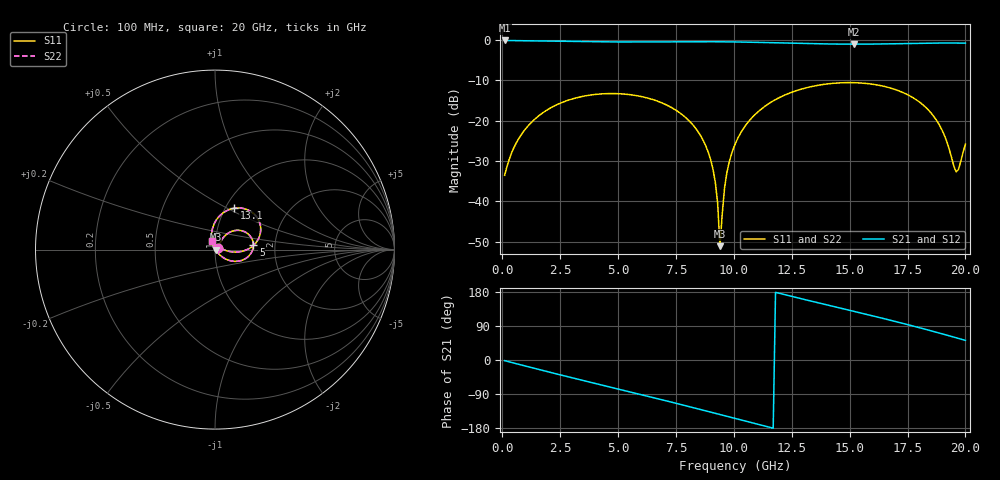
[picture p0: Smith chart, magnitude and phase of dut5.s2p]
! Touchstone file exported from HFSS 2026.1.0
!  File:  C:/ffzhzh/LocalFiles/Ansys_Project_Files/temp_test_TSV_RDL_5_1782978886_45748.aedt
!  Generated:  04:04:09 PM Jul  2, 2026
!  Design:  TSV_RDL
!  Project:  temp_test_TSV_RDL_5_1782978886_45748
! Variables:
!  h_bsmrdl = 3.55um
!  h_ox = 20um
!  h_rdl = 5um
!  h_sub = 92.43um
!  h_tmrdl = 5.27um
!  h_tsv = 92.43um
!  h_via = 3um
!  l_bsmrdl = 398.3um
!  l_sub = 4456.75um
!  l_tmrdl = 684.69um
!  m_sub = 200um
!  pitch = 34.3um
!  r_tsv = 13.97um
!  s_tmrdl = 10um
!  w_bsmrdl = 27.43um
!  w_sub = 500um
!  w_tmrdl = 13.6um
!  x_tsv_center1 = 691.49um
!  x_tsv_center2 = 1117.22um
!  x_tsv_center3 = 1815.51um
!  x_tsv_center4 = 2241.24um
!  x_tsv_center5 = 2939.53um
!  x_tsv_center6 = 3365.26um
# GHz S MA R 50.000000
! Terminal data exported
! Port[1] = TM_RDL1_1_T1
! Port[2] = TM_RDL5_1_T1
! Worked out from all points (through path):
!   200 points, 100 MHz to 20 GHz, reference 50 ohm
!   highest |S21| = -0.17 dB at 100 MHz (marker M1); lowest = -1.1 dB at 15.2 GHz (marker M2)
!   group delay of S21, straight-line fit = 42.4 ps
!   lowest |S11| = -51.1 dB at 9.4 GHz (marker M3), VSWR 1.01, Z = 50.3 + j0.0115 ohm
!   |S11| at or under -10 dB: start of sweep to end of sweep
!   |S22| runs from -51.1 to -10.6 dB; largest |S21 - S12| = 1.7e-14
!   S11 on the Smith chart (normalised r, x): 100 MHz: 1.04, +0.02; 5 GHz: 1.54, +0.08; 13.1 GHz: 1.10, +0.54; 20 GHz: 0.96, +0.09
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0.1  0.02103 24.2  0.981 -1.7  0.981 -1.7  0.02103 24.2
! Gamma 0 0 0 0
! Port Impedance 50 0 50 0
0.6  0.05264 53.7  0.9754 -9.7  0.9754 -9.7  0.05264 53.7
1.3  0.09772 54.1  0.9696 -20.7  0.9696 -20.7  0.09772 54.1
3.5  0.2 27.6  0.9475 -54.2  0.9475 -54.2  0.2 27.6
5  0.2152 6.6  0.94 -76.5  0.94 -76.5  0.2152 6.7
6.8  0.1698 -19.1  0.9428 -103.4  0.9428 -103.4  0.1698 -19.0
8  0.1039 -36.4  0.9466 -121.9  0.9466 -121.9  0.1038 -36.3
8.8  0.04769 -46.9  0.9469 -134.4  0.9469 -134.4  0.04768 -46.9
9.2  0.01721 -47.8  0.9459 -140.7  0.9459 -140.7  0.01721 -47.7
9.3  0.009535 -42.6  0.9455 -142.3  0.9455 -142.3  0.009527 -42.5
9.4  0.002789 2.4  0.945 -143.9  0.945 -143.9  0.002789 2.6
9.6  0.01476 108.4  0.9439 -147.1  0.9439 -147.1  0.01477 108.4
9.7  0.02268 110.2  0.9432 -148.7  0.9432 -148.7  0.02269 110.2
10.1  0.05468 107.7  0.94 -155.0  0.94 -155.0  0.05469 107.7
11.2  0.14 92.6  0.9267 -172.2  0.9267 -172.2  0.14 92.6
13.1  0.2534 65.2  0.8981 158.9  0.8981 158.9  0.2534 65.3
13.4  0.2654 61.0  0.8942 154.5  0.8942 154.5  0.2654 61.1
15.2  0.2944 36.2  0.8826 128.2  0.8826 128.2  0.2944 36.2
16.7  0.2559 15.7  0.8904 105.9  0.8904 105.9  0.2558 15.8
18.6  0.1161 -7.0  0.9098 75.7  0.9098 75.7  0.1161 -6.7
19.6  0.02321 48.1  0.9115 58.7  0.9115 58.7  0.02363 48.5
20  0.051 111.9  0.9086 51.8  0.9086 51.8  0.05131 111.6
